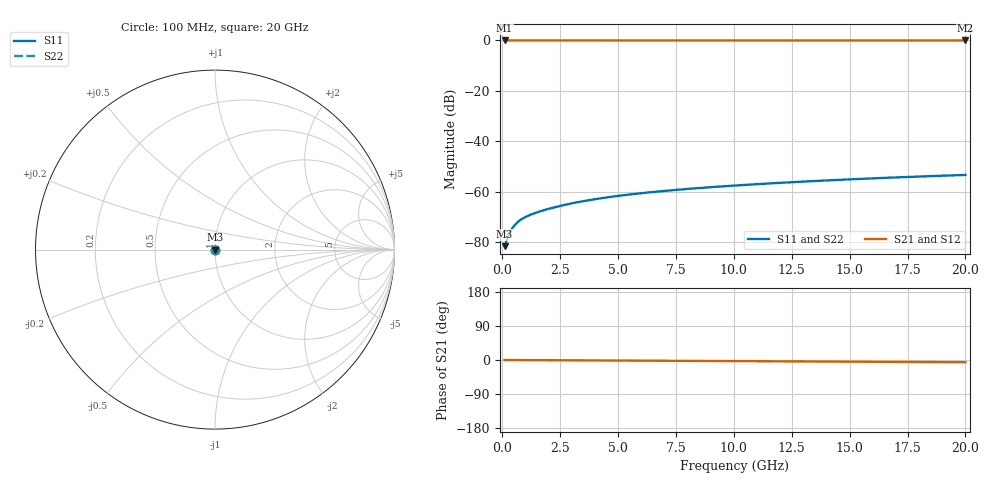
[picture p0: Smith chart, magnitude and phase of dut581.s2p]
! Touchstone file exported from HFSS 2026.1.0
!  File:  C:/ffzhzh/LocalFiles/Ansys_Project_Files/temp_train_TSV_581_1783025050_53980.aedt
!  Generated:  04:45:51 AM Jul  3, 2026
!  Design:  TSV
!  Project:  temp_train_TSV_581_1783025050_53980
! Variables:
!  h_bsmrdl = 2um
!  h_ox = 20um
!  h_rdl = 5um
!  h_sub = 54.4um
!  h_tmrdl = 5um
!  h_tsv = 54.4um
!  h_via = 3um
!  l_bsmrdl = 300um
!  l_sub = 424.3um
!  l_tmrdl = 200um
!  m_sub = 200um
!  pitch = 49.02um
!  r_tsv = 12.15um
!  s_tmrdl = 10um
!  w_bsmrdl = 18um
!  w_sub = 500um
!  w_tmrdl = 12um
!  x_tsv_center1 = 206um
!  x_tsv_center2 = 524um
!  x_tsv_center3 = 736um
!  x_tsv_center4 = 1054um
!  x_tsv_center5 = 1266um
!  x_tsv_center6 = 1584um
# GHz S MA R 50.000000
! Terminal data exported
! Port[1] = TSV1_1_T1
! Port[2] = TSV1_1_T2
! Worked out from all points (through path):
!   200 points, 100 MHz to 20 GHz, reference 50 ohm
!   highest |S21| = 0.00 dB at 100 MHz (marker M1); lowest = 0.0 dB at 20 GHz (marker M2)
!   lowest |S11| = -81.6 dB at 100 MHz (marker M3), VSWR 1.00, Z = 50 + j0.00398 ohm
!   |S11| at or under -10 dB: start of sweep to end of sweep
!   |S22| runs from -81.6 to -53.3 dB; largest |S21 - S12| = 3.2e-15
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0.1  8.342e-05 28.5  0.9999 -0.0  0.9999 -0.0  8.342e-05 28.5
! Gamma 0 0 0 0
! Port Impedance 50 0 50 0
0.2  0.000113 43.1  0.9999 -0.1  0.9999 -0.1  0.000113 43.1
0.3  0.0001465 49.1  0.9999 -0.1  0.9999 -0.1  0.0001465 49.1
0.4  0.0001788 51.3  0.9999 -0.1  0.9999 -0.1  0.0001788 51.3
0.5  0.0002082 52.0  0.9999 -0.2  0.9999 -0.2  0.0002083 52.0
0.6  0.0002346 52.0  0.9999 -0.2  0.9999 -0.2  0.0002346 52.0
0.7  0.000258 51.8  0.9998 -0.2  0.9998 -0.2  0.0002581 51.9
0.8  0.0002791 51.7  0.9998 -0.2  0.9998 -0.2  0.0002791 51.7
1  0.0003157 51.5  0.9998 -0.3  0.9998 -0.3  0.0003158 51.5
1.4  0.0003771 52.1  0.9998 -0.4  0.9998 -0.4  0.0003771 52.1
2  0.0004589 54.0  0.9997 -0.6  0.9997 -0.6  0.0004589 54.0
2.7  0.0005505 55.9  0.9997 -0.8  0.9997 -0.8  0.0005505 55.9
3.5  0.0006517 57.4  0.9997 -1.0  0.9997 -1.0  0.0006516 57.4
4.2  0.0007363 58.3  0.9996 -1.2  0.9996 -1.2  0.0007362 58.3
5  0.0008282 58.9  0.9996 -1.5  0.9996 -1.5  0.0008282 58.9
5.9  0.0009261 59.4  0.9996 -1.7  0.9996 -1.7  0.000926 59.4
6.8  0.001019 59.8  0.9995 -2.0  0.9995 -2.0  0.001019 59.8
8.3  0.001166 60.4  0.9995 -2.4  0.9995 -2.4  0.001166 60.4
10.1  0.001334 60.9  0.9994 -3.0  0.9994 -3.0  0.001334 60.9
13.4  0.001626 61.6  0.9993 -3.9  0.9993 -3.9  0.001626 61.6
16.7  0.001901 61.7  0.9992 -4.9  0.9992 -4.9  0.0019 61.7
20  0.002157 61.5  0.9992 -5.9  0.9992 -5.9  0.002156 61.5
